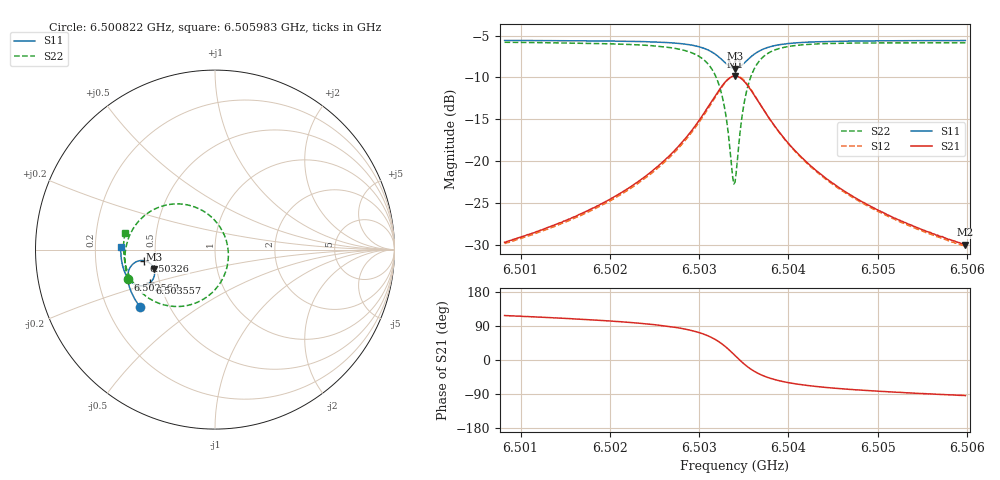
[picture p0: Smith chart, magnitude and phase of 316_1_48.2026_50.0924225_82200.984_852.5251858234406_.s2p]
#  HZ  S  RI  R  50.00
! Rohde & Schwarz Vector Network Analyzer
! Rohde-Schwarz,ZNB20-2Port,1311601062101988,3.16
! Created: UTC 3/20/2024, 11:50:11 AM
! freq[Hz]  re:S11  im:S11  re:S21  im:S21  re:S12  im:S12  re:S22  im:S22
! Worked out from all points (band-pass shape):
!   401 points, 6.500822 GHz to 6.505983 GHz, reference 50 ohm
!   highest |S21| = -9.82 dB at 6.503402 GHz (marker M1); lowest = -30.0 dB at 6.505983 GHz (marker M2)
!   |S21| within 3 dB of the highest: 6.503143 GHz to 6.50366 GHz (517.2 kHz wide, 0.00795 % of centre)
!   lowest |S11| = -8.9 dB at 6.503402 GHz (marker M3), VSWR 2.11, Z = 24.2 - j6.09 ohm
!   |S11| at or under -10 dB: nowhere
!   |S22| runs from -22.7 to -5.8 dB; largest |S21 - S12| = 0.011
!   S11 on the Smith chart (normalised r, x): 6.500822 GHz: 0.34, -0.30; 6.502563 GHz: 0.33, -0.15; 6.50326 GHz: 0.43, -0.06; 6.503557 GHz: 0.44, -0.20; 6.505983 GHz: 0.31, +0.01
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6.5008216e9  -0.4203 -0.3172  -0.015 0.029  -0.0133 0.0292  -0.486 -0.1657
6.5016861e9  -0.4583 -0.2544  -0.0146 0.0464  -0.0121 0.046  -0.5013 -0.0758
6.5021506e9  -0.4752 -0.214  -0.0119 0.0648  -0.00895 0.0637  -0.4996 -0.0119
6.5025506e9  -0.4853 -0.171  -0.00317 0.0943  0.000502 0.092  -0.4812 0.0654
6.5025635e9  -0.4855 -0.1694  -0.00268 0.0956  0.000966 0.0933  -0.4802 0.0683
6.5028087e9  -0.485 -0.1342  0.0154 0.1285  0.0192 0.1247  -0.4421 0.1375
6.5029893e9  -0.4737 -0.1011  0.0498 0.1642  0.0531 0.159  -0.3744 0.2034
6.503157e9  -0.4393 -0.068  0.1267 0.1973  0.128 0.1909  -0.2333 0.2538
6.5032603e9  -0.3972 -0.0612  0.2111 0.1885  0.2114 0.1831  -0.0864 0.2261
6.5033119e9  -0.3719 -0.0697  0.2589 0.1608  0.2597 0.1561  -0.0071 0.1691
6.5033764e9  -0.3458 -0.0959  0.3057 0.098  0.3082 0.0929  0.0635 0.0487
6.5034022e9  -0.3395 -0.1101  0.3158 0.0664  0.3189 0.0604  0.074 -0.0102
6.5034151e9  -0.3377 -0.1176  0.3185 0.0498  0.3216 0.0435  0.0745 -0.0405
6.5034925e9  -0.3436 -0.1617  0.3016 -0.0431  0.3035 -0.0528  0.0173 -0.2028
6.503557e9  -0.3645 -0.187  0.2595 -0.0963  0.2584 -0.1072  -0.0773 -0.2836
6.5036603e9  -0.4034 -0.2018  0.1866 -0.1318  0.1812 -0.1409  -0.224 -0.317
6.503828e9  -0.4488 -0.1919  0.1065 -0.129  0.0997 -0.1338  -0.3684 -0.2712
6.5040086e9  -0.4757 -0.1705  0.063 -0.1094  0.0569 -0.1116  -0.439 -0.2073
6.5042667e9  -0.4963 -0.1407  0.0334 -0.0858  0.0288 -0.0862  -0.4815 -0.1362
6.5046538e9  -0.5117 -0.1008  0.0145 -0.0631  0.0114 -0.0627  -0.5038 -0.0619
6.5051312e9  -0.5211 -0.0572  0.00502 -0.0469  0.00273 -0.0463  -0.5098 0.0039
6.5059828e9  -0.5258 0.0147  -0.00221 -0.0315  -0.00335 -0.0308  -0.5013 0.0924
